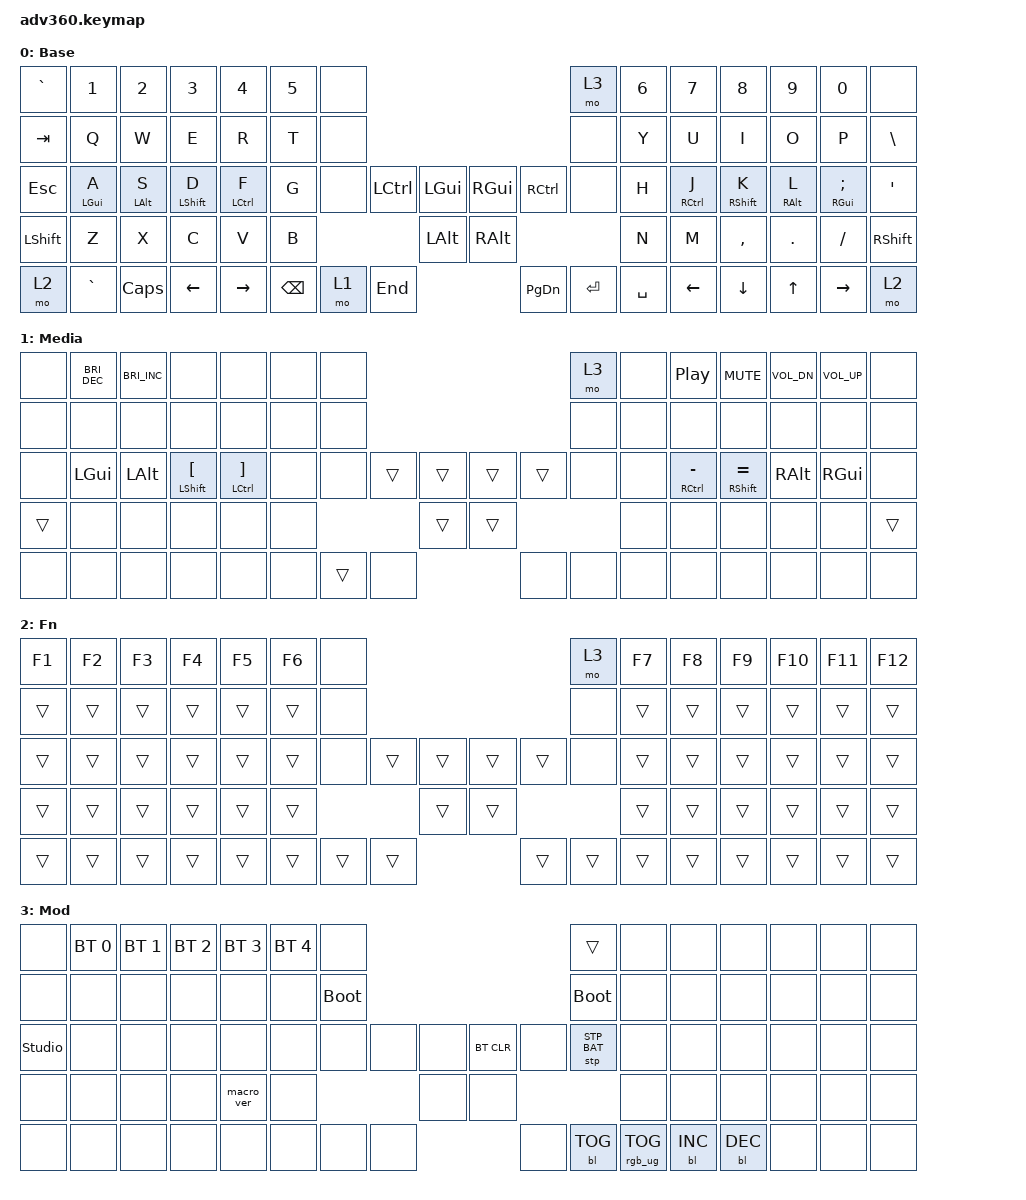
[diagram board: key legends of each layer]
#include <behaviors.dtsi>
#include <dt-bindings/zmk/keys.h>
#include <dt-bindings/zmk/bt.h>
#include <dt-bindings/zmk/rgb.h>
#include <dt-bindings/zmk/stp.h>
#include <dt-bindings/zmk/backlight.h>
#include <dt-bindings/zmk/pointing.h>

#define QUICK_TAP_MS 175
#define TAPPING_TERM_MS 280

/*          
                Kinesis Advantage 360 Key Map
 ╭────────────────────────────┬────────────────────────────╮ 
 │  0   1   2   3   4   5   6 │  7   8   9  10  11  12  13 │ 
 │ 14  15  16  17  18  19  20 │ 21  22  23  24  25  26  27 │ 
 │ 28  29  30  31  32  33  34 │ 39  40  41  42  43  44  45 │ 
 │ 46  47  48  49  50  51 ╭───┴───╮ 54  55  56  57  58  59 │ 
 │ 60  61  62  63  64╭────╯       ╰────╮71  72  73  74  75 │ 
 ╰───────────────────┼────────┬────────┼───────────────────╯
                 ╭───╯ 35  36 │ 37  38 ╰───╮                
                 │         52 │ 53         │                
                 │ 65  66  67 │ 68  69  70 │                
                 ╰─────────────────────────╯                
*/

/ {
    behaviors {
      #include "macros.dtsi"
      #include "version.dtsi"

      #define KEYS_L 0 1 2 3 4 5 6 14 15 16 17 18 19 20 28 29 30 31 32 33 34 46 47 48 49 50 51 60 61 62 63 64
      #define KEYS_R 7 8 9 10 11 12 13 21 22 23 24 25 26 27 39 40 41 42 43 44 45 54 55 56 57 58 59 71 72 73 74 75
      #define THUMBS 35 36 37 38 65 66 67 68 69 70
      
      /* 
      Timerless Home Row Mod

      the tap hold flavor "balanced" helps ensuring a hold is triggered with another key press and release.
      require-prior-idle-ms will help mitigate the delay that we see with regular typing by defaulting to 
      a tap if other keys are pressed within the prior idle window.
      "positional hold tap" is used to ensure that rolling keys are not an issue.
      adding hold-trigger-on-release ensures that "positional hold tap" does not interfere with holding
      multiple modifiers using the same hand.
      Note - it is recommeded to use the home row mods with modifiers other than shift
      
      */

      hml: homerow_mods_left {
          compatible = "zmk,behavior-hold-tap";
          label = "HOMEROW_MODS_LEFT";
          #binding-cells = <2>;
          tapping-term-ms = <TAPPING_TERM_MS>;
          quick-tap-ms = <QUICK_TAP_MS>;
          flavor = "balanced";
          bindings = <&kp>, <&kp>;
          require-prior-idle-ms = <150>;
          hold-trigger-key-positions = <KEYS_R THUMBS>;
          hold-trigger-on-release;
      };

      hmr: homerow_mods_right {
          compatible = "zmk,behavior-hold-tap";
          label = "HOMEROW_MODS_RIGHT";
          #binding-cells = <2>;
          tapping-term-ms = <TAPPING_TERM_MS>;
          quick-tap-ms = <QUICK_TAP_MS>;
          flavor = "balanced";
          bindings = <&kp>, <&kp>;
          require-prior-idle-ms = <150>;
          hold-trigger-key-positions = <KEYS_L THUMBS>;
          hold-trigger-on-release;
      };
    };

  keymap {
    compatible = "zmk,keymap";

    default_layer {
      display-name = "Base";
      bindings = <
        &kp GRAVE &kp N1      &kp N2      &kp N3        &kp N4        &kp N5  &none                                                         &mo 3   &kp N6  &kp N7        &kp N8        &kp N9        &kp N0          &none 
        &kp TAB   &kp Q       &kp W       &kp E         &kp R         &kp T   &none                                                         &none   &kp Y   &kp U         &kp I         &kp O         &kp P           &kp BSLH
        &kp ESC   &hml LGUI A &hml LALT S &hml LSHFT D  &hml LCTRL F  &kp G   &none       &kp LCTRL &kp LGUI  &kp RGUI  &kp RCTRL           &none   &kp H   &hmr  RCTRL J &hmr RSHFT K  &hmr RALT L   &hmr RGUI SEMI  &kp SQT
        &kp LSHFT &kp Z       &kp X       &kp C         &kp V         &kp B                         &kp LALT  &kp RALT                              &kp N   &kp M         &kp COMMA     &kp DOT       &kp FSLH        &kp RSHFT
        &mo 2     &kp GRAVE   &kp CAPS    &kp LEFT      &kp RIGHT                   &kp BSPC  &mo 1 &kp END   &kp PG_DN &kp ENTER &kp SPACE                 &kp LEFT      &kp DOWN      &kp UP        &kp RIGHT       &mo 2
      >;
    };
    media {
      display-name = "Media";
      /* a momentary layer on the thumb cluster with extra media and navigation keys */
      bindings = <
        &none   &kp C_BRI_DEC  &kp C_BRI_INC  &none           &none           &none &none                                           &mo 3 &none &kp C_PP          &kp C_MUTE        &kp C_VOL_DN  &kp C_VOL_UP  &none
        &none   &none          &none          &none           &none           &none &none                                           &none &none &none             &none             &none         &none         &none
        &none   &kp LGUI       &kp LALT       &hml LSHFT LBKT &hml LCTRL RBKT &none &none      &trans  &trans  &trans  &trans       &none &none &hmr RCTRL MINUS  &hmr RSHFT EQUAL  &kp RALT      &kp RGUI      &none
        &trans  &none          &none          &none           &none           &none                    &trans  &trans                     &none &none             &none             &none         &none         &trans
        &none   &none          &none          &none           &none                      &none &trans  &none   &none   &none   &none            &none             &none             &none         &none         &none
      >;
    };
    fn {
      display-name = "Fn";
      bindings = <
        &kp F1 &kp F2 &kp F3 &kp F4 &kp F5 &kp F6  &none                                           &mo 3 &kp F7 &kp F8 &kp F9 &kp F10 &kp F11 &kp F12
        &trans &trans &trans &trans &trans &trans  &none                                           &none &trans &trans &trans &trans  &trans  &trans
        &trans &trans &trans &trans &trans &trans  &none        &trans &trans &trans &trans        &none &trans &trans &trans &trans  &trans  &trans
        &trans &trans &trans &trans &trans &trans                      &trans &trans                     &trans &trans &trans &trans  &trans  &trans
        &trans &trans &trans &trans &trans               &trans &trans &trans &trans &trans &trans              &trans &trans &trans  &trans  &trans
      >;
    };
    mod {
      display-name = "Mod";
      bindings = <
        &none &bt BT_SEL 0 &bt BT_SEL 1 &bt BT_SEL 2 &bt BT_SEL 3 &bt BT_SEL 4 &none                                                                     &trans                 &none        &none        &none        &none &none &none
        &none &none        &none        &none        &none        &none        &bootloader                                                               &bootloader            &none        &none        &none        &none &none &none
        &studio_unlock &none        &none        &none        &none        &none        &none                   &none &none &bt BT_CLR &none                      &stp STP_BAT &none        &none        &none        &none &none &none
        &none &none        &none        &none        &macro_ver   &none                                      &none &none                                                        &none        &none        &none        &none &none &none
        &none &none        &none        &none        &none                                       &none &none &none &none      &bl BL_TOG &rgb_ug RGB_TOG                                     &bl BL_INC   &bl BL_DEC   &none &none &none
      >;
    };
    extra1 { 
      display-name = "Red";    
      status = "reserved";
    };

    extra2 { 
      display-name = "Purple";    
      status = "reserved";
    };

    extra3 { 
      display-name = "Cyan";    
      status = "reserved";
    };

    extra4 { 
      display-name = "Yellow";    
      status = "reserved";
    };
  };
};
